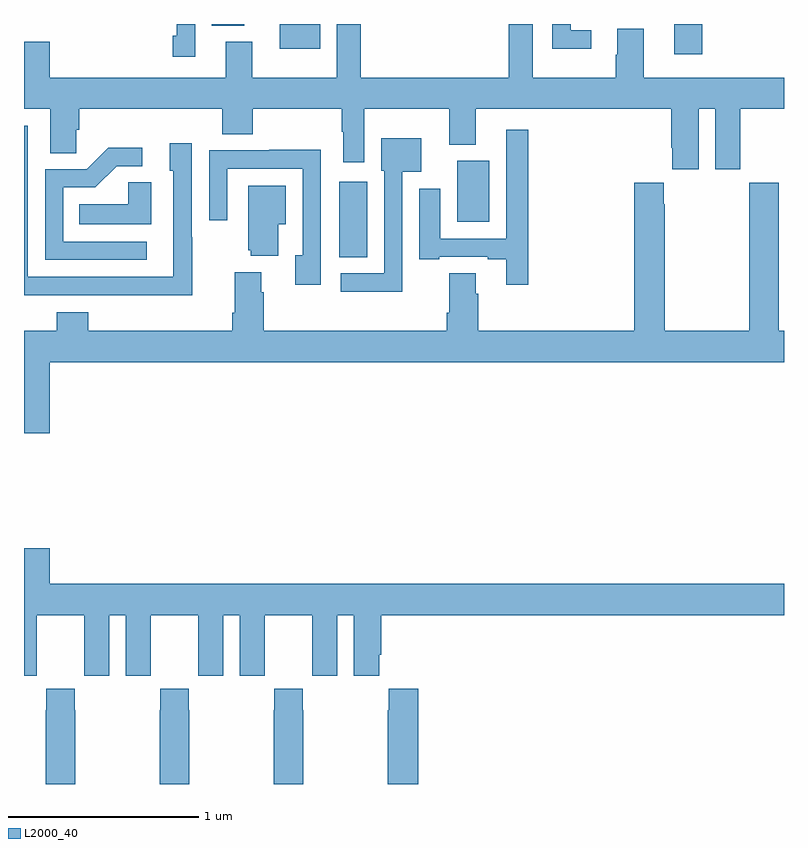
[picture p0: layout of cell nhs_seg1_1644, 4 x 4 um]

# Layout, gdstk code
import gdstk
lib = gdstk.Library(unit=1e-6, precision=1e-09)
def R(c, l, rs):  # rectangles x0, y0, x1, y1
    for r in rs: c.add(gdstk.rectangle(r[:2], r[2:], *l))
def P(c, l, *ps):  # polygons
    for p in ps: c.add(gdstk.Polygon(p, *l))
L2000_40 = (2000, 40)

nhs_seg1_1644 = lib.new_cell('nhs_seg1_1644')
R(nhs_seg1_1644, L2000_40, [(202.658,530.971,202.807,531.37), (203.279,531.158,203.449,531.478), (204.422,532.041,204.569,532.199), (202.346,532.07,202.558,532.199), (201.989,532.19,202.159,532.199)])
P(nhs_seg1_1644, L2000_40, [(203.986,532.167),(203.877,532.167),(203.877,532.199),(203.781,532.199),(203.781,532.07),(203.986,532.07)],
  [(201.9,532.199),(201.804,532.199),(201.804,532.138),(201.784,532.138),(201.784,532.026),(201.9,532.026)],
  [(204.55,531.752),(204.638,531.752),(204.638,531.435),(204.769,531.435),(204.769,531.752),(205,531.752),(205,531.916),(204.262,531.916),(204.262,532.174),(204.122,532.174),(204.122,532.037),(204.115,532.037),(204.115,531.916),(203.677,531.916),(203.677,532.198),(203.552,532.198),(203.552,531.916),(202.772,531.916),(202.772,532.198),(202.646,532.198),(202.646,531.916),(202.201,531.916),(202.201,532.105),(202.061,532.105),(202.061,531.916),(201.136,531.916),(201.136,532.105),(201,532.105),(201,531.752),(201.137,531.752),(201.137,531.52),(201.276,531.52),(201.276,531.643),(201.29,531.643),(201.29,531.752),(202.043,531.752),(202.043,531.619),(202.203,531.619),(202.203,531.752),(202.672,531.752),(202.672,531.631),(202.679,531.631),(202.679,531.471),(202.792,531.471),(202.792,531.752),(203.237,531.752),(203.237,531.563),(203.377,531.563),(203.377,531.752),(204.407,531.752),(204.407,531.547),(204.413,531.547),(204.413,531.435),(204.55,531.435)],
  [(201.885,531.077),(201.882,531.077),(201.882,531.571),(201.767,531.571),(201.767,531.426),(201.786,531.426),(201.786,530.868),(201.021,530.868),(201.021,531.663),(201,531.663),(201,530.772),(201.421,530.772),(201.421,530.771),(201.885,530.771)],
  [(203.654,531.643),(203.538,531.643),(203.538,531.069),(203.191,531.069),(203.191,531.331),(203.081,531.331),(203.081,530.961),(203.185,530.961),(203.185,530.973),(203.441,530.973),(203.441,530.961),(203.537,530.961),(203.537,530.826),(203.654,530.826)],
  [(202.992,531.422),(203.092,531.422),(203.092,531.598),(202.88,531.598),(202.88,531.426),(202.896,531.426),(202.896,530.886),(202.668,530.886),(202.668,530.789),(202.992,530.789)],
  [(201.646,531.054),(201.207,531.054),(201.207,531.339),(201.376,531.339),(201.487,531.45),(201.622,531.45),(201.622,531.548),(201.443,531.548),(201.33,531.435),(201.111,531.435),(201.111,530.958),(201.646,530.958)],
  [(202.563,531.536),(202.291,531.536),(202.291,531.534),(201.975,531.534),(201.975,531.165),(202.071,531.165),(202.071,531.438),(202.467,531.438),(202.467,530.982),(202.427,530.982),(202.427,530.826),(202.563,530.826)],
  [(201.67,531.365),(201.549,531.365),(201.549,531.25),(201.292,531.25),(201.292,531.146),(201.67,531.146)],
  [(201.136,530.42),(205,530.42),(205,530.584),(204.972,530.584),(204.972,531.364),(204.817,531.364),(204.817,530.584),(204.372,530.584),(204.372,531.251),(204.367,531.251),(204.367,531.364),(204.212,531.364),(204.212,530.584),(203.39,530.584),(203.39,530.78),(203.377,530.78),(203.377,530.888),(203.237,530.888),(203.237,530.68),(203.225,530.68),(203.225,530.584),(202.262,530.584),(202.262,530.786),(202.249,530.786),(202.249,530.893),(202.109,530.893),(202.109,530.68),(202.097,530.68),(202.097,530.584),(201.338,530.584),(201.338,530.683),(201.173,530.683),(201.173,530.584),(201,530.584),(201,530.046),(201.136,530.046)],
  [(202.339,531.146),(202.378,531.146),(202.378,531.349),(202.181,531.349),(202.181,531.009),(202.193,531.009),(202.193,530.978),(202.339,530.978)],
  [(201.066,528.88),(201.067,528.88),(201.067,529.088),(201.317,529.088),(201.317,528.88),(201.318,528.88),(201.318,528.768),(201.448,528.768),(201.448,529.088),(201.536,529.088),(201.536,528.768),(201.666,528.768),(201.666,528.88),(201.667,528.88),(201.667,529.088),(201.917,529.088),(201.917,528.88),(201.918,528.88),(201.918,528.768),(202.048,528.768),(202.048,529.088),(202.136,529.088),(202.136,528.768),(202.266,528.768),(202.266,528.88),(202.267,528.88),(202.267,529.088),(202.517,529.088),(202.517,528.88),(202.518,528.88),(202.518,528.768),(202.648,528.768),(202.648,529.088),(202.736,529.088),(202.736,528.768),(202.87,528.768),(202.87,528.88),(202.88,528.88),(202.88,529.088),(205,529.088),(205,529.252),(201.136,529.252),(201.136,529.441),(201,529.441),(201,528.768),(201.066,528.768)],
  [(203.075,528.7),(202.921,528.7),(202.921,528.587),(202.915,528.587),(202.915,528.199),(203.075,528.199)],
  [(202.47,528.587),(202.467,528.587),(202.467,528.7),(202.317,528.7),(202.317,528.587),(202.315,528.587),(202.315,528.199),(202.47,528.199)],
  [(201.87,528.587),(201.867,528.587),(201.867,528.7),(201.717,528.7),(201.717,528.587),(201.715,528.587),(201.715,528.199),(201.87,528.199)],
  [(201.27,528.587),(201.267,528.587),(201.267,528.7),(201.117,528.7),(201.117,528.587),(201.115,528.587),(201.115,528.199),(201.27,528.199)])

lib.write_gds('nhs_seg1_1644.gds')
